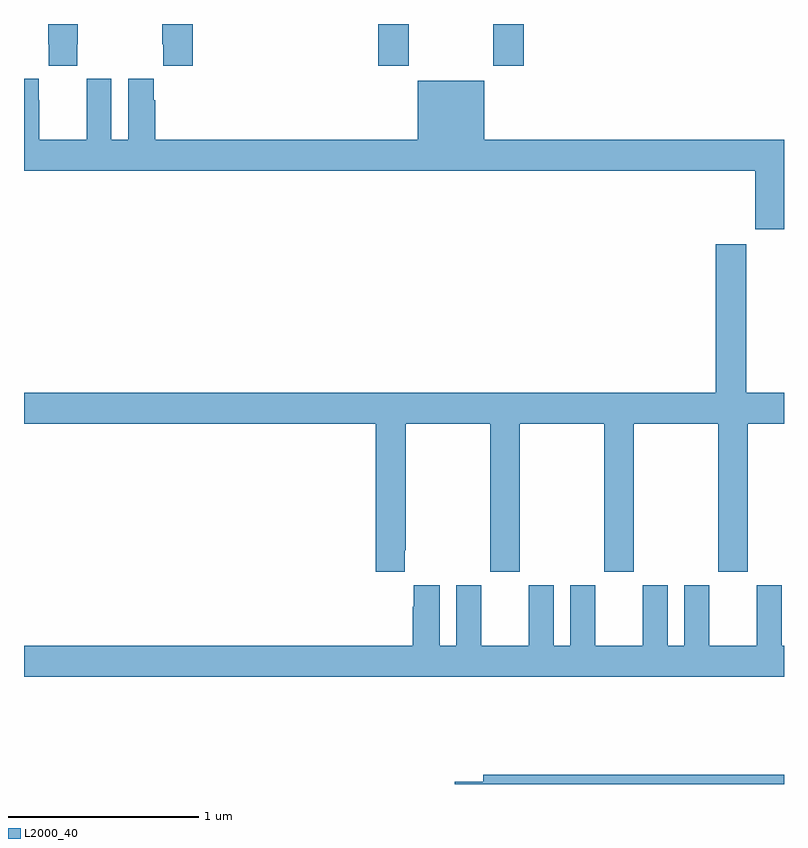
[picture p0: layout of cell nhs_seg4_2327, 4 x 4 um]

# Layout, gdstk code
import gdstk
lib = gdstk.Library(unit=1e-6, precision=1e-09)
def R(c, l, rs):  # rectangles x0, y0, x1, y1
    for r in rs: c.add(gdstk.rectangle(r[:2], r[2:], *l))
def P(c, l, *ps):  # polygons
    for p in ps: c.add(gdstk.Polygon(p, *l))
L2000_40 = (2000, 40)

nhs_seg4_2327 = lib.new_cell('nhs_seg4_2327')
R(nhs_seg4_2327, L2000_40, [(232.865,822.681,233.025,822.9), (233.47,822.681,233.63,822.9)])
P(nhs_seg4_2327, L2000_40, [(231.887,822.9),(231.727,822.9),(231.727,822.793),(231.733,822.793),(231.733,822.681),(231.887,822.681)],
  [(231.279,822.793),(231.282,822.793),(231.282,822.9),(231.127,822.9),(231.127,822.793),(231.129,822.793),(231.129,822.681),(231.279,822.681)],
  [(235,822.292),(233.422,822.292),(233.422,822.601),(233.072,822.601),(233.072,822.292),(231.692,822.292),(231.692,822.5),(231.682,822.5),(231.682,822.613),(231.548,822.613),(231.548,822.292),(231.46,822.292),(231.46,822.613),(231.33,822.613),(231.33,822.5),(231.329,822.5),(231.329,822.292),(231.079,822.292),(231.079,822.5),(231.078,822.5),(231.078,822.613),(231,822.613),(231,822.128),(234.848,822.128),(234.848,821.819),(235,821.819)],
  [(233.005,820.129),(233.01,820.129),(233.01,820.796),(233.455,820.796),(233.455,820.017),(233.61,820.017),(233.61,820.796),(234.055,820.796),(234.055,820.017),(234.21,820.017),(234.21,820.796),(234.655,820.796),(234.655,820.017),(234.81,820.017),(234.81,820.796),(235,820.796),(235,820.96),(234.801,820.96),(234.801,821.74),(234.641,821.74),(234.641,820.96),(231,820.96),(231,820.796),(232.85,820.796),(232.85,820.017),(233.005,820.017)],
  [(235,819.628),(234.988,819.628),(234.988,819.946),(234.857,819.946),(234.857,819.628),(234.607,819.628),(234.607,819.946),(234.476,819.946),(234.476,819.628),(234.388,819.628),(234.388,819.946),(234.257,819.946),(234.257,819.628),(234.007,819.628),(234.007,819.946),(233.876,819.946),(233.876,819.628),(233.788,819.628),(233.788,819.946),(233.657,819.946),(233.657,819.628),(233.407,819.628),(233.407,819.946),(233.276,819.946),(233.276,819.628),(233.188,819.628),(233.188,819.946),(233.051,819.946),(233.051,819.833),(233.045,819.833),(233.045,819.628),(231,819.628),(231,819.464),(235,819.464)],
  [(235,818.948),(233.417,818.948),(233.417,818.912),(233.268,818.912),(233.268,818.9),(235,818.9)])

lib.write_gds('nhs_seg4_2327.gds')
